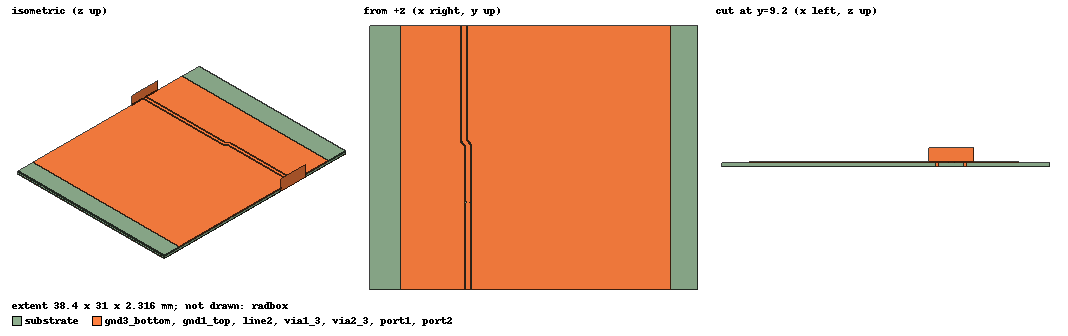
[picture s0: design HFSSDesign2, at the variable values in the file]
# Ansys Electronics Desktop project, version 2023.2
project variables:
  $w = 50.8mm
  $l = 190.5mm
  $w_lin = 0.53789169mm  # optimise 0.52mm..1.56mm
  $h_sig = 0.03556mm
  $w_gnd_top = 7.5mm
  $d = 0.11434763mm  # optimise 0.2mm..0.6mm
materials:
  vacuum: permittivity=1
  FR4_epoxy: permittivity=4.4 dielectric_loss_tangent=0.02
  air: permittivity=1.0006 permeability=1.0000004
  rhodium: conductivity=22200000
  Rogers RO4350 (tm): permittivity=3.66 dielectric_loss_tangent=0.004
  copper: permeability=0.999991 conductivity=58000000
  solder: conductivity=7000000

design HFSSDesign2 (HFSS, HFSS Modal Network, model units mm)
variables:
  w = 38.4mm
  l = 31mm
  h_sub = 0.508mm
  h_gnd3 = 0.03556mm
  w_lin = 1.04mm
  h_sig = 0.03556mm
  w_gnd_top = 7.5mm
  h_ges = h_gnd3+h_sig+h_sub
  pos_gnd1 = w/2-$w_lin/2-$d-w_gnd_top
  pos_lin = w/2-$w_lin/2
  pos_gnd2 = w/2+$w_lin/2+$d
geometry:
  radbox [air] = box(corner=(-15mm, 0mm, -15mm), size=(w+30mm, l, h_ges+30mm))
  gnd3_bottom [copper] = box(corner=(0mm, 0mm, 0mm), size=(w, l, h_gnd3))
  gnd1_top [copper] = box(corner=(pos_gnd1, 0mm, h_gnd3+h_sub), size=(w_gnd_top, 16.7626mm, h_sig))
  gnd2_top = box(corner=(pos_gnd2, 0mm, h_gnd3+h_sub), size=(23.2661mm, 17.578mm, h_sig))
  port1 = rectangle(corner=(11.26375063mm-$w_lin*4.5, 0mm, 0mm), z_size=h_ges*4, x_size=$w_lin*10)
  port2 = rectangle(corner=(10.81356699mm-$w_lin*4.5, l, 0mm), z_size=h_ges*4, x_size=$w_lin*10)
  via1 [copper] = cylinder(axis=Z, base_centre=(w/2-3*$w_lin, 2mm, h_gnd3), radius=0.2mm, height=h_sub)
  via1_1..via1_11 [copper] = via1.duplicate_along_line(step=(0mm, 2.4mm, 0mm), total=300)  # copies kept: 1..11
  via2 [copper] = cylinder(axis=Z, base_centre=(w/2+3*$w_lin, 2mm, h_gnd3), radius=0.2mm, height=h_sub)
  via2_1..via2_11 [copper] = via2.duplicate_along_line(step=(0mm, 2.4mm, 0mm), total=79)  # copies kept: 1..11
  [gnd1_top, via1, via1_1..via1_11, via2, via2_1..via2_11].move(-7.6167065mm, 0mm, -1.110223e-16mm)
  [gnd1_top, via1, via1_1..via1_11, via2, via2_1..via2_11].move(3.64215mm, 0mm, 0mm)
  [gnd1_top, via1, via1_1..via1_11, via2, via2_1..via2_11].move(-7.34215mm, 0mm, 0mm)
  [gnd1_top, via1, via1_1..via1_11, via2, via2_1..via2_11].move(3.64215mm, 0mm, 0mm)
  coordinate_system RelativeCS1 = origin=(38.4mm, 0mm, 0mm) x=(0mm, 0.14mm, 0mm) y=(-0.06mm, 0mm, 0mm)
  [gnd1_top, via1, via1_1..via1_11, via2, via2_1..via2_11].move(0mm, 0.00664mm, 0mm) in RelativeCS1
  [gnd1_top, via1, via1_1..via1_11, via2, via2_1..via2_11].move(0mm, -0.013893mm, 0mm) in RelativeCS1
  coordinate_system RelativeCS2 = origin=(38.4mm, 0mm, 0mm) x=(0mm, 0.14mm, 0mm) y=(-0.06mm, 0mm, 0mm)
  coordinate_system RelativeCS3 = origin=(38.4mm, 0mm, 0mm) x=(0mm, 0.14mm, 0mm) y=(-0.06mm, 0mm, 0mm)
  coordinate_system RelativeCS5 = origin=(38.4mm, 0mm, 0mm) x=(0mm, 0.14mm, 0mm) y=(-0.06mm, 0mm, 0mm)
  up = rectangle(corner=(10mm, 27mm, 0mm), x_size=0.89614mm, y_size=0.53789mm) in RelativeCS5
  up.rotate(axis=Z, angle=320deg) in RelativeCS5
  up.thicken(h_sig)
  up.move(-12.919061mm, -2.820493mm, 0.54356mm)
  coordinate_system RelativeCS4 = origin=(38.4mm, 0mm, 0mm) x=(0mm, 0.14mm, 0mm) y=(-0.06mm, 0mm, 0mm)
  up.mirror(point=(11.801642mm, 22.8817mm, 0.57912mm), normal=(-3.0633255e-15mm, 1mm, -1.367556e-17mm))
  up.move(-2.3092639e-14mm, -14.7634mm, -1.110223e-16mm)
  up.move(0mm, 8.8817mm, 0mm)
  line4 = box(corner=(pos_lin, 0mm, h_gnd3+h_sub), size=($w_lin, 13.65926596mm, h_sig))
  line4.move(-7.6167065mm, 0mm, -1.110223e-16mm)
  line4.move(3.64215mm, 0mm, 0mm)
  line4.move(-7.34215mm, 0mm, 0mm)
  line4.move(3.64215mm, 0mm, 0mm)
  coordinate_system RelativeCS6 = origin=(38.4mm, 0mm, 0mm) x=(0mm, 0.14mm, 0mm) y=(-0.06mm, 0mm, 0mm)
  line4.move(0mm, 0.00664mm, 0mm) in RelativeCS6
  line4.move(0mm, -0.013893mm, 0mm) in RelativeCS6
  line4.move(0mm, 22.8817mm, 0mm)
  line4.move(-0.45018364mm, -5.540966mm, 0mm)
  coordinate_system RelativeCS7 = origin=(38.4mm, 0mm, 0mm) x=(0mm, 0.14mm, 0mm) y=(-0.06mm, 0mm, 0mm)
  coordinate_system RelativeCS8 = origin=(38.4mm, 0mm, 0mm) x=(0mm, 0.14mm, 0mm) y=(-0.06mm, 0mm, 0mm)
  up1 = polyline(z=h_ges-h_sig, xy in mm: (22.2923, 27.70118) (22.8365, 27.25124) (22.8365, 27.70118) (22.2923, 27.70118), closed, covered) in RelativeCS2
  up1.mirror(point=(22.8365mm, 27.70118mm, 0mm), normal=(-1mm, 0mm, 0mm)) in RelativeCS2
  up1.move(-6.0739mm, 0mm, 0mm) in RelativeCS1
  coordinate_system RelativeCS10 = origin=(38.4mm, 0mm, 0mm) x=(0mm, 0.14mm, 0mm) y=(-0.06mm, 0mm, 0mm) in RelativeCS1
  up2 = polyline(z=h_ges-h_sig, xy in mm: (22.2923, 27.70118) (22.8365, 27.25124) (22.8365, 27.70118) (22.2923, 27.70118), closed, covered) in RelativeCS10
  up2.mirror(point=(22.8365mm, 27.70118mm, 0mm), normal=(-1mm, 0mm, 0mm)) in RelativeCS10
  coordinate_system RelativeCS9 = origin=(38.4mm, 0mm, 0mm) x=(0mm, 0.14mm, 0mm) y=(-0.06mm, 0mm, 0mm) in RelativeCS1
  up2.move(-6.0739mm, 0mm, 0mm) in RelativeCS9
  up2.rotate(axis=Z, angle=90deg) in RelativeCS1
  up2.move(34.3068mm, 15.50118mm, 0mm) in RelativeCS1
  up2.move(0.0338mm, 0.28396mm, 0mm) in RelativeCS1
  [up1, up2].thicken(h_sig)
  coordinate_system RelativeCS11 = origin=(38.4mm, 0mm, 0mm) x=(0mm, 0.14mm, 0mm) y=(-0.06mm, 0mm, 0mm)
  gnd2_top.move(-7.6673035mm, 0mm, -1.110223e-16mm)
  gnd1_top2 = box(corner=(pos_gnd1, 0mm, h_gnd3+h_sub), size=(7.049417mm, 14.2374mm, h_sig))
  gnd1_top2.move(-7.6167065mm, 0mm, -1.110223e-16mm)
  gnd1_top2.move(3.64215mm, 0mm, 0mm)
  gnd1_top2.move(-7.34215mm, 0mm, 0mm)
  gnd1_top2.move(3.64215mm, 0mm, 0mm)
  coordinate_system RelativeCS12 = origin=(38.4mm, 0mm, 0mm) x=(0mm, 0.14mm, 0mm) y=(-0.06mm, 0mm, 0mm)
  gnd1_top2.move(0mm, 0.00664mm, 0mm) in RelativeCS12
  gnd1_top2.move(0mm, -0.013893mm, 0mm) in RelativeCS12
  gnd1_top2.move(-0.450583mm, 16.7626mm, 1.110223e-16mm)
  gnd1_top2.move(0.450583mm, 0mm, 0mm)
  gnd2_top3 = box(corner=(pos_gnd2, 0mm, h_gnd3+h_sub), size=(23.71628364mm, 13.422mm, h_sig))
  gnd2_top3.move(-7.6673035mm, 0mm, -1.110223e-16mm)
  gnd2_top3.move(-0.44998996mm, 17.578mm, 1.110223e-16mm)
  in1 = polyline(z=0mm, xy in mm: (8.1183, 27.13645) (8.1707, 27.0926) (8.1707, 26.6424) (8.1183, 26.59876) (8.1183, 27.13645), closed, covered) in RelativeCS1
  in1.move(0mm, 0.013692369mm, 0.57912mm) in RelativeCS1
  in1.thicken(h_sig)
  in1.move(0mm, -0.013893mm, 0mm) in RelativeCS1
  in2 = polyline(z=0mm, xy in mm: (8.1183, 27.13645) (8.1707, 27.0926) (8.1707, 26.6424) (8.1183, 26.59876) (8.1183, 27.13645), closed, covered) in RelativeCS1
  in2.move(0mm, 0.013692369mm, 0.57912mm) in RelativeCS1
  in2.thicken(h_sig)
  in2.mirror(point=(8.1183mm, 27.150142mm, 0.57912mm), normal=(-1mm, 4.2536463e-13mm, 0mm)) in RelativeCS1
  in2.move(0.1048mm, -4.2632564e-14mm, 0mm) in RelativeCS1
  in2.move(0mm, -0.013893mm, 0mm) in RelativeCS1
  in2_1 = polyline(z=0mm, xy in mm: (9.3702, 27.49255) (9.4821, 27.58658) (9.4821, 27.04889) (9.3702, 27.14272) (9.3702, 27.49255), closed, covered)
  in2_1.move(1.7816506mm, -16.82579mm, 0.57912mm)
  in2_1.rotate(axis=Z, angle=270deg)
  in2_1.move(1.0406506mm, 21.486851mm, 0mm)
  in2_1.thicken(h_sig)
  in2_2 = polyline(z=0mm, xy in mm: (9.3702, 27.49255) (9.4821, 27.58658) (9.4821, 27.04889) (9.3702, 27.14272) (9.3702, 27.49255), closed, covered)
  in2_2.move(1.7816506mm, -16.82579mm, 0.57912mm)
  in2_2.rotate(axis=Z, angle=270deg)
  in2_2.move(1.0406506mm, 21.486851mm, 0mm)
  in2_2.thicken(h_sig)
  in2_2.mirror(point=(11.263751mm, 10.2231mm, 0.57912mm), normal=(1.3322676e-14mm, -1mm, 0mm))
  in2_2.move(2.3092639e-14mm, 0.2238mm, 0mm)
  line1 = box(corner=(pos_lin, 0mm, h_gnd3+h_sub), size=($w_lin, 8.1183mm, h_sig))
  line1.move(-7.6167065mm, 0mm, -1.110223e-16mm)
  line1.move(3.64215mm, 0mm, 0mm)
  line1.move(-7.34215mm, 0mm, 0mm)
  line1.move(3.64215mm, 0mm, 0mm)
  coordinate_system RelativeCS13 = origin=(38.4mm, 0mm, 0mm) x=(0mm, 0.14mm, 0mm) y=(-0.06mm, 0mm, 0mm)
  line1.move(0mm, 0.00664mm, 0mm) in RelativeCS13
  line1.move(0mm, -0.013893mm, 0mm) in RelativeCS13
  line2 [copper] = box(corner=(pos_lin, 0mm, h_gnd3+h_sub), size=($w_lin, 2mm, h_sig))
  line2.move(-7.6167065mm, 0mm, -1.110223e-16mm)
  line2.move(3.64215mm, 0mm, 0mm)
  line2.move(-7.34215mm, 0mm, 0mm)
  line2.move(3.64215mm, 0mm, 0mm)
  coordinate_system RelativeCS14 = origin=(38.4mm, 0mm, 0mm) x=(0mm, 0.14mm, 0mm) y=(-0.06mm, 0mm, 0mm)
  line2.move(0mm, 0.00664mm, 0mm) in RelativeCS14
  line2.move(0mm, -0.013893mm, 0mm) in RelativeCS14
  line2.move(3.4976466e-12mm, 8.2231mm, 0mm)
  line3 = rectangle(corner=(11.801441mm, 10.4469mm, 0.57912mm), x_size=-0.53769mm, y_size=6.5531mm)
  line3.thicken(h_sig)
  substrate [Rogers RO4350 (tm)] = box(corner=(0mm, 0mm, h_gnd3), size=(w, l, h_sub))
  line2.unite(line3, up, line4, in2_1, in2_2, line1, in1, in2)
  gnd1_top.unite(up1, gnd1_top2, up2, gnd2_top3, gnd2_top)
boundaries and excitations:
  Rad1: Radiation Objects=radbox
  1: Wave Port Objects=port1 WavePortType=Modal NumModes=1 Modes{Mode1{CharImp=Zpi RenormImp=50ohm}}
  2: Wave Port Objects=port2 WavePortType=Modal NumModes=1 Modes{Mode1{CharImp=Zpi RenormImp=50ohm}}
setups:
  Setup1: HfssDriven Frequency=10GHz MaxDeltaS=0.02 MaximumPasses=20 MinimumPasses=1 MinimumConvergedPasses=1 PercentRefinement=30 BasisOrder=1 PortAccuracy=2 DrivenSolverType="Direct Solver"
    sweep Sweep_fast: 10GHz to 20GHz step 0.3GHz; Type=Discrete
    sweep Sweep: 1GHz to 20GHz step 0.1GHz; Type=Discrete
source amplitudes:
  1:1: 1W 0deg
  2:1: 0W 0deg
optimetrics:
  OptimizationSetup2: Optimization Optimizer="Quasi Newton" AnalysisStopOptions{StopForNumIteration MaxNumIteration=1000 MinNumIteration=10} CostFuncNormType=L2 Acceptable_Cost=0 Noise=0.0001 UpdateDesignWhenDone
    vary $d: Min=0.1mm Max=0.6mm MinStep=0.004mm MaxStep=0.04mm MinFocus=0.2mm MaxFocus=0.6mm start=0.125mm
    vary $w_lin: Min=0.3556mm Max=1.56mm MinStep=0.0104mm MaxStep=0.104mm MinFocus=0.52mm MaxFocus=1.56mm start=0.56704mm
    goal dB(S(1,1)) <= -30 weight 0.5 on Setup1 : Sweep_fast at Freq 1GHz to 20GHz
    goal dB(S(2,2)) <= -30 weight 0.5 on Setup1 : Sweep_fast at Freq 1GHz to 20GHz
    goal mag(Zo(1)) == 50 weight 1 on Setup1 : Sweep_fast at Freq 10GHz to 19.9GHz
    goal re(Zo(2)) == 50 weight 1 on Setup1 : Sweep_fast at Freq 10GHz to 19.9GHz
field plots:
  Mag_E1: E Field in substrate on Setup1 : LastAdaptive at Freq=10GHz Phase=0deg
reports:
  Port Zo Plot 1: mag(Zo(1)), mag(Zo(2)) vs Freq on Setup1 : Sweep [w_gnd_top=all]
  S Parameter Plot 1: dB(S(1,1)), dB(S(2,1)), dB(S(1,2)), dB(S(2,2)) vs Freq on Setup1 : Sweep
